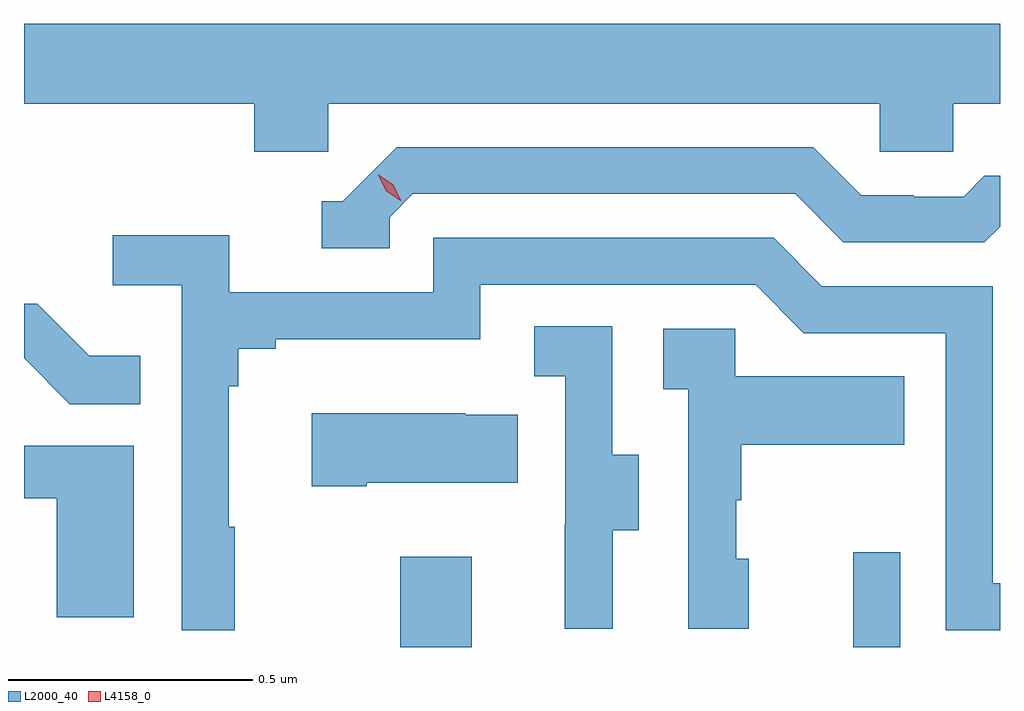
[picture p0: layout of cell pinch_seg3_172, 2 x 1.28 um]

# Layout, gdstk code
import gdstk
lib = gdstk.Library(unit=1e-6, precision=1e-09)
def R(c, l, rs):  # rectangles x0, y0, x1, y1
    for r in rs: c.add(gdstk.rectangle(r[:2], r[2:], *l))
def P(c, l, *ps):  # polygons
    for p in ps: c.add(gdstk.Polygon(p, *l))
L2000_40 = (2000, 40)
L4158_0 = (4158, 0)

pinch_seg3_172 = lib.new_cell('pinch_seg3_172')
R(pinch_seg3_172, L2000_40, [(1106.662,707.794,1106.809,707.98), (1107.59,707.794,1107.687,707.989)])
P(pinch_seg3_172, L2000_40, [(1106.514,708.908),(1107.645,708.908),(1107.645,708.81),(1107.795,708.81),(1107.795,708.908),(1107.891,708.908),(1107.891,709.072),(1105.891,709.072),(1105.891,708.908),(1106.363,708.908),(1106.363,708.81),(1106.514,708.81)],
  [(1106.64,708.675),(1106.688,708.723),(1107.471,708.723),(1107.57,708.624),(1107.859,708.624),(1107.891,708.656),(1107.891,708.76),(1107.859,708.76),(1107.817,708.717),(1107.714,708.717),(1107.714,708.72),(1107.607,708.72),(1107.508,708.819),(1106.655,708.819),(1106.544,708.708),(1106.501,708.708),(1106.501,708.612),(1106.64,708.612)],
  [(1106.323,708.041),(1106.311,708.041),(1106.311,708.329),(1106.33,708.329),(1106.33,708.406),(1106.407,708.406),(1106.407,708.425),(1106.826,708.425),(1106.826,708.537),(1107.39,708.537),(1107.489,708.438),(1107.78,708.438),(1107.78,707.829),(1107.891,707.829),(1107.891,707.925),(1107.876,707.925),(1107.876,708.534),(1107.526,708.534),(1107.427,708.633),(1106.73,708.633),(1106.73,708.522),(1106.312,708.522),(1106.312,708.638),(1106.073,708.638),(1106.073,708.536),(1106.214,708.536),(1106.214,707.829),(1106.323,707.829)],
  [(1106.129,708.391),(1106.025,708.391),(1105.918,708.498),(1105.891,708.498),(1105.891,708.386),(1105.985,708.292),(1106.129,708.292)],
  [(1107.097,708.034),(1107.151,708.034),(1107.151,708.189),(1107.096,708.189),(1107.096,708.452),(1106.937,708.452),(1106.937,708.349),(1107,708.349),(1107,708.045),(1106.999,708.045),(1106.999,707.832),(1107.097,707.832)],
  [(1107.376,707.976),(1107.351,707.976),(1107.351,708.095),(1107.361,708.095),(1107.361,708.209),(1107.695,708.209),(1107.695,708.349),(1107.348,708.349),(1107.348,708.447),(1107.201,708.447),(1107.201,708.323),(1107.252,708.323),(1107.252,707.832),(1107.376,707.832)],
  [(1106.593,708.131),(1106.903,708.131),(1106.903,708.271),(1106.795,708.271),(1106.795,708.274),(1106.481,708.274),(1106.481,708.124),(1106.593,708.124)],
  [(1106.116,708.207),(1105.891,708.207),(1105.891,708.099),(1105.958,708.099),(1105.958,707.856),(1106.116,707.856)])
P(pinch_seg3_172, L4158_0, [(1106.663,708.709),(1106.633,708.729),(1106.617,708.761),(1106.617,708.762),(1106.618,708.762),(1106.648,708.742),(1106.664,708.709),(1106.664,708.709)])

lib.write_gds('pinch_seg3_172.gds')
